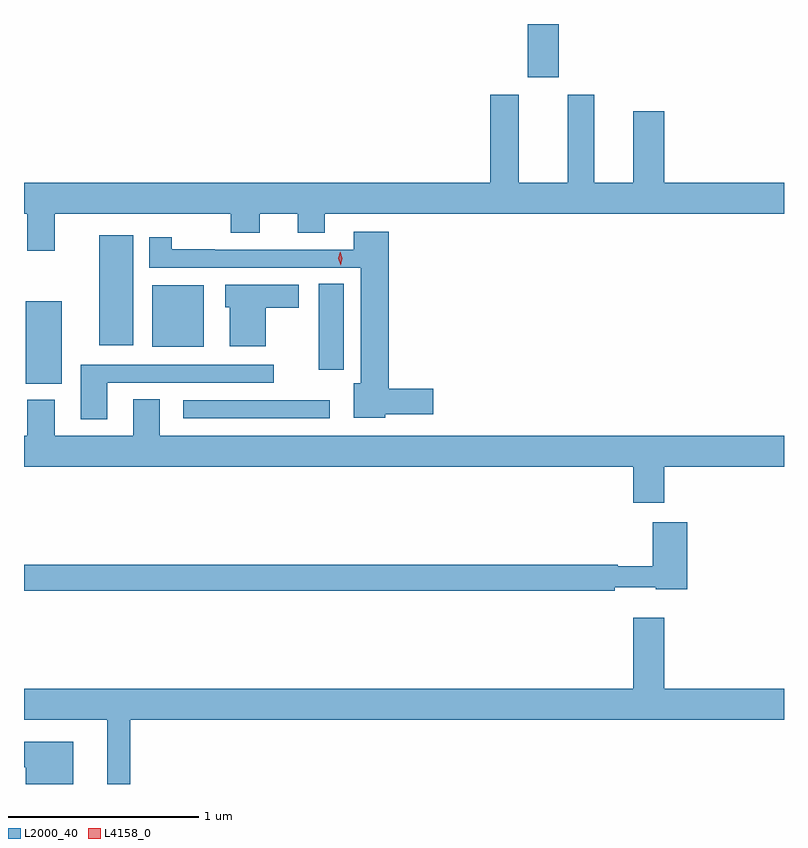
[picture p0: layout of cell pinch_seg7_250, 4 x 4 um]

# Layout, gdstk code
import gdstk
lib = gdstk.Library(unit=1e-6, precision=1e-09)
def R(c, l, rs):  # rectangles x0, y0, x1, y1
    for r in rs: c.add(gdstk.rectangle(r[:2], r[2:], *l))
def P(c, l, *ps):  # polygons
    for p in ps: c.add(gdstk.Polygon(p, *l))
L2000_40 = (2000, 40)
L4158_0 = (4158, 0)

pinch_seg7_250 = lib.new_cell('pinch_seg7_250')
R(pinch_seg7_250, L2000_40, [(809.991,1054.152,810.763,1054.248), (809.162,1054.334,809.353,1054.768), (810.704,1054.407,810.838,1054.859), (809.828,1054.529,810.1,1054.852), (809.549,1054.535,809.728,1055.116), (811.805,1055.946,811.969,1056.227)])
P(pinch_seg7_250, L2000_40, [(809.317,1055.228),(810.242,1055.228),(810.242,1055.129),(810.394,1055.129),(810.394,1055.228),(810.596,1055.228),(810.596,1055.129),(810.736,1055.129),(810.736,1055.228),(813.154,1055.228),(813.154,1055.392),(812.524,1055.392),(812.524,1055.767),(812.36,1055.767),(812.36,1055.392),(812.155,1055.392),(812.155,1055.854),(812.015,1055.854),(812.015,1055.392),(811.759,1055.392),(811.759,1055.854),(811.607,1055.854),(811.607,1055.392),(809.154,1055.392),(809.154,1055.228),(809.17,1055.228),(809.17,1055.034),(809.317,1055.034)],
  [(811.056,1054.172),(811.309,1054.172),(811.309,1054.307),(811.073,1054.307),(811.073,1055.134),(810.89,1055.134),(810.89,1055.04),(810.158,1055.04),(810.158,1055.042),(809.931,1055.042),(809.931,1055.104),(809.813,1055.104),(809.813,1054.944),(810.926,1054.944),(810.926,1054.336),(810.89,1054.336),(810.89,1054.154),(811.056,1054.154)],
  [(810.427,1054.733),(810.601,1054.733),(810.601,1054.855),(810.212,1054.855),(810.212,1054.737),(810.236,1054.737),(810.236,1054.532),(810.427,1054.532)],
  [(809.593,1054.338),(810.469,1054.338),(810.469,1054.434),(809.453,1054.434),(809.453,1054.146),(809.593,1054.146)],
  [(812.524,1053.896),(813.154,1053.896),(813.154,1054.06),(809.869,1054.06),(809.869,1054.253),(809.729,1054.253),(809.729,1054.06),(809.317,1054.06),(809.317,1054.249),(809.17,1054.249),(809.17,1054.06),(809.154,1054.06),(809.154,1053.896),(812.36,1053.896),(812.36,1053.708),(812.524,1053.708)],
  [(812.264,1053.263),(812.478,1053.263),(812.478,1053.251),(812.645,1053.251),(812.645,1053.604),(812.462,1053.604),(812.462,1053.373),(812.278,1053.373),(812.278,1053.38),(809.154,1053.38),(809.154,1053.244),(812.264,1053.244)],
  [(809.713,1052.564),(813.154,1052.564),(813.154,1052.728),(812.524,1052.728),(812.524,1053.103),(812.36,1053.103),(812.36,1052.728),(809.154,1052.728),(809.154,1052.564),(809.591,1052.564),(809.591,1052.227),(809.713,1052.227)],
  [(809.413,1052.449),(809.154,1052.449),(809.154,1052.315),(809.162,1052.315),(809.162,1052.227),(809.413,1052.227)])
P(pinch_seg7_250, L4158_0, [(810.82,1054.956),(810.82,1054.957),(810.809,1054.993),(810.818,1055.029),(810.818,1055.029),(810.819,1055.029),(810.829,1054.993),(810.82,1054.957)])

lib.write_gds('pinch_seg7_250.gds')
